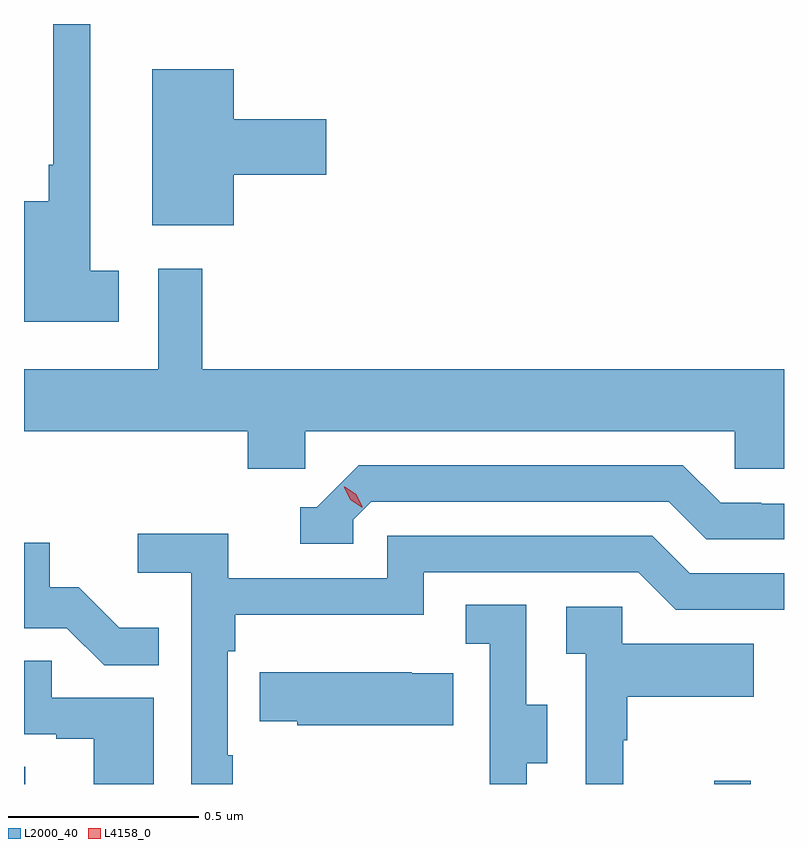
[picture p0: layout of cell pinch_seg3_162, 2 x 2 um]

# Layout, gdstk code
import gdstk
lib = gdstk.Library(unit=1e-6, precision=1e-09)
def R(c, l, rs):  # rectangles x0, y0, x1, y1
    for r in rs: c.add(gdstk.rectangle(r[:2], r[2:], *l))
def P(c, l, *ps):  # polygons
    for p in ps: c.add(gdstk.Polygon(p, *l))
L2000_40 = (2000, 40)
L4158_0 = (4158, 0)

pinch_seg3_162 = lib.new_cell('pinch_seg3_162')
R(pinch_seg3_162, L2000_40, [(1090.456,707.98,1090.459,708.026), (1092.272,707.98,1092.369,707.989)])
P(pinch_seg3_162, L2000_40, [(1090.705,709.331),(1090.63,709.331),(1090.63,709.98),(1090.533,709.98),(1090.533,709.609),(1090.521,709.609),(1090.521,709.513),(1090.456,709.513),(1090.456,709.196),(1090.705,709.196)],
  [(1091.008,709.583),(1091.251,709.583),(1091.251,709.73),(1091.008,709.73),(1091.008,709.861),(1090.793,709.861),(1090.793,709.451),(1091.008,709.451)],
  [(1091.196,708.908),(1092.327,708.908),(1092.327,708.81),(1092.456,708.81),(1092.456,709.072),(1090.925,709.072),(1090.925,709.336),(1090.809,709.336),(1090.809,709.072),(1090.456,709.072),(1090.456,708.908),(1091.045,708.908),(1091.045,708.81),(1091.196,708.81)],
  [(1091.322,708.675),(1091.37,708.723),(1092.153,708.723),(1092.252,708.624),(1092.456,708.624),(1092.456,708.717),(1092.396,708.717),(1092.396,708.72),(1092.289,708.72),(1092.19,708.819),(1091.337,708.819),(1091.226,708.708),(1091.183,708.708),(1091.183,708.612),(1091.322,708.612)],
  [(1091.005,708.056),(1090.992,708.056),(1090.992,708.329),(1091.012,708.329),(1091.012,708.425),(1091.508,708.425),(1091.508,708.537),(1092.072,708.537),(1092.171,708.438),(1092.456,708.438),(1092.456,708.534),(1092.208,708.534),(1092.109,708.633),(1091.412,708.633),(1091.412,708.522),(1090.994,708.522),(1090.994,708.638),(1090.755,708.638),(1090.755,708.536),(1090.896,708.536),(1090.896,707.98),(1091.005,707.98)],
  [(1090.811,708.391),(1090.707,708.391),(1090.6,708.498),(1090.524,708.498),(1090.524,708.615),(1090.456,708.615),(1090.456,708.39),(1090.569,708.39),(1090.667,708.292),(1090.811,708.292)],
  [(1091.779,708.034),(1091.833,708.034),(1091.833,708.189),(1091.778,708.189),(1091.778,708.452),(1091.619,708.452),(1091.619,708.349),(1091.682,708.349),(1091.682,708.045),(1091.681,708.045),(1091.681,707.98),(1091.779,707.98)],
  [(1092.033,708.095),(1092.043,708.095),(1092.043,708.209),(1092.377,708.209),(1092.377,708.349),(1092.03,708.349),(1092.03,708.447),(1091.883,708.447),(1091.883,708.323),(1091.934,708.323),(1091.934,707.98),(1092.033,707.98)],
  [(1090.798,708.207),(1090.529,708.207),(1090.529,708.305),(1090.456,708.305),(1090.456,708.111),(1090.541,708.111),(1090.541,708.099),(1090.64,708.099),(1090.64,707.98),(1090.798,707.98)],
  [(1091.585,708.271),(1091.477,708.271),(1091.477,708.274),(1091.077,708.274),(1091.077,708.145),(1091.175,708.145),(1091.175,708.134),(1091.585,708.134)])
P(pinch_seg3_162, L4158_0, [(1091.345,708.708),(1091.315,708.728),(1091.299,708.761),(1091.299,708.762),(1091.3,708.762),(1091.33,708.742),(1091.346,708.709),(1091.346,708.708)])

lib.write_gds('pinch_seg3_162.gds')
